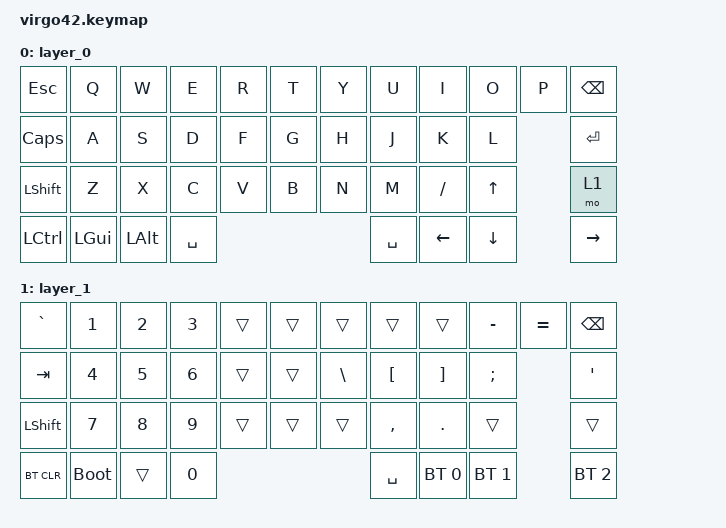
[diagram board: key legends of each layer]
/*
 * Copyright (c) 2020 The ZMK Contributors
 *
 * SPDX-License-Identifier: MIT
 */

#include <behaviors.dtsi>
#include <dt-bindings/zmk/bt.h>
#include <dt-bindings/zmk/keys.h>
#include <dt-bindings/zmk/outputs.h>
#include <dt-bindings/zmk/rgb.h>
#include <dt-bindings/zmk/ext_power.h>

/ {
    keymap0: keymap {
        compatible = "zmk,keymap";

        layer_0 {
            bindings = <
&kp ESC    &kp Q     &kp W     &kp E      &kp R  &kp T  &kp Y  &kp U      &kp I     &kp O         &kp P  &kp BSPC
&kp CAPS   &kp A     &kp S     &kp D      &kp F  &kp G  &kp H  &kp J      &kp K     &kp L                &kp ENTER
&kp LSHFT  &kp Z     &kp X     &kp C      &kp V  &kp B  &kp N  &kp M      &kp FSLH  &kp UP_ARROW         &mo 1
&kp LCTRL  &kp LGUI  &kp LALT  &kp SPACE                       &kp SPACE  &kp LEFT  &kp DOWN             &kp RIGHT
            >;
        };

        layer_1 {
            bindings = <
&kp GRAVE   &kp N1       &kp N2  &kp N3  &trans  &trans  &trans    &trans     &trans        &kp MINUS     &kp EQUAL  &kp BSPC
&kp TAB     &kp N4       &kp N5  &kp N6  &trans  &trans  &kp BSLH  &kp LBKT   &kp RBKT      &kp SEMI                 &kp APOS
&kp LSHFT   &kp N7       &kp N8  &kp N9  &trans  &trans  &trans    &kp COMMA  &kp DOT       &trans                   &trans
&bt BT_CLR  &bootloader  &trans  &kp N0                            &kp SPACE  &bt BT_SEL 0  &bt BT_SEL 1             &bt BT_SEL 2
            >;
        };
    };
};
